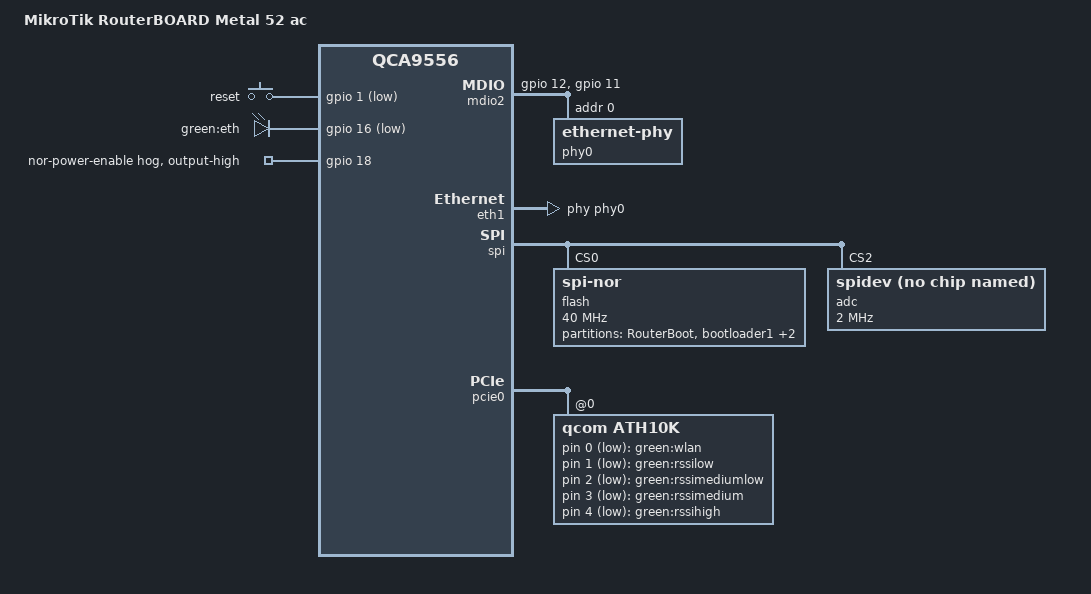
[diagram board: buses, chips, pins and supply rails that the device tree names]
// SPDX-License-Identifier: GPL-2.0-or-later OR MIT
/*
 * MikroTik RouterBOARD Metal 52 ac (RBMetalG-52SHPacn)
 *
 *   SoC      : Qualcomm Atheros QCA9556 (ath79, mipsbe, 720 MHz)
 *   RAM      : 64 MB,  Flash: 16 MB SPI NOR (ISSI IS25LP128)
 *   Ethernet : 1x GbE, AR8033 SGMII PHY on bit-banged MDIO (gpio 11/12)
 *   WiFi     : single dual-band 1x1 PCIe QCA9889 (driven as QCA9887 by
 *              ath10k), 2.4 + 5 GHz, one chain via external amplifier;
 *              SoC wmac unused.
 *
 * GPIO map verified live on hardware:
 *   gpio  1  - reset button (active low)
 *   gpio  4  - piezo beeper (passive; driven by a gpioset square wave)
 *   gpio 11  - MDIO (bit-banged)
 *   gpio 12  - MDC  (bit-banged)
 *   gpio 16  - ethernet status LED (active low: lit when line is low)
 *   gpio 18  - NOR power/enable: MUST stay high. Driving it low kills SPI
 *              access to the flash. Held high by gpio-hog below; do NOT use.
 *
 * The WiFi LED and the 4-segment signal-strength bar are wired to the QCA9889
 * radio chip's own GPIOs (see the ath10k-leds node), not the SoC.
 *
 * SPI bus pinmux (read live from GPIO_OUT_FUNCTION / GPIO_IN_ENABLE0, and
 * confirmed against the stock RouterOS kernel for this board, code "g52c"):
 *   pin 5  = SPI_CS0   (NOR flash)
 *   pin 6  = SPI_CLK   (shared)
 *   pin 7  = SPI_MOSI  (shared)
 *   pin 8  = SPI_MISO  (shared; SPI_DATA_IN source in GPIO_IN_ENABLE0)
 *   pin 17 = SPI_CS2   (the ZT2046Q /CS)
 * SPI_CS1 is muxed to no pin, so the ADC is on native chip-select 2.
 *
 * A ZT2046Q (ADS7846/XPT2046-compatible 12-bit SPI ADC) provides temperature
 * and input-voltage sensing. It shares SCLK/MOSI/MISO with the boot NOR flash
 * and hangs off the controller's native SPI_CS2; see the adc@2 node. Read it
 * from user space via /dev/spidev0.2 (mode 0, >= 1.875 MHz: AHB 240 MHz / 128).
 */

#include "qca955x.dtsi"

#include <dt-bindings/gpio/gpio.h>
#include <dt-bindings/input/input.h>

/ {
	compatible = "mikrotik,routerboard-metal-52ac", "qca,qca9556";
	model = "MikroTik RouterBOARD Metal 52 ac";

	aliases {
		mdio-gpio1 = &mdio2;
	};

	keys {
		compatible = "gpio-keys";

		reset {
			label = "reset";
			linux,code = <KEY_RESTART>;
			gpios = <&gpio 1 GPIO_ACTIVE_LOW>;
			debounce-interval = <60>;
		};
	};

	leds {
		compatible = "gpio-leds";

		eth {
			label = "green:eth";
			gpios = <&gpio 16 GPIO_ACTIVE_LOW>;
		};
	};

	/*
	 * LEDs wired to the QCA9889 radio chip's own GPIOs (exposed as the
	 * "ath10k" gpio-controller). Mapped on the device by sweeping
	 * gpiochip1: gpio0 = WiFi, gpio1..4 = signal-strength bar (low->high).
	 * Driving a line low lights the LED, hence GPIO_ACTIVE_LOW.
	 */
	ath10k-leds {
		compatible = "gpio-leds";

		wlan {
			label = "green:wlan";
			gpios = <&ath10k 0 GPIO_ACTIVE_LOW>;
			linux,default-trigger = "phy0tpt";
		};

		rssilow {
			label = "green:rssilow";
			gpios = <&ath10k 1 GPIO_ACTIVE_LOW>;
		};

		rssimediumlow {
			label = "green:rssimediumlow";
			gpios = <&ath10k 2 GPIO_ACTIVE_LOW>;
		};

		rssimedium {
			label = "green:rssimedium";
			gpios = <&ath10k 3 GPIO_ACTIVE_LOW>;
		};

		rssihigh {
			label = "green:rssihigh";
			gpios = <&ath10k 4 GPIO_ACTIVE_LOW>;
		};
	};

	/*
	 * GPIO 4 is the piezo buzzer. It is passive (needs a square wave to
	 * make sound), so it is NOT bound to the gpio-beeper driver (which can
	 * only drive a steady level). The line is left free and driven on
	 * demand with a ~2 kHz square wave via gpioset (see the bootbeep
	 * init script / runtime beeps).
	 */

	mdio2: mdio {
		compatible = "virtual,mdio-gpio";

		gpios = <&gpio 12 GPIO_ACTIVE_HIGH>, /* MDC */
			<&gpio 11 GPIO_ACTIVE_HIGH>; /* MDIO */
		#address-cells = <1>;
		#size-cells = <0>;

		phy0: ethernet-phy@0 {
			reg = <0>;
			device_type = "ethernet-phy";

			phy-mode = "sgmii";

			at803x-override-sgmii-link-check;
		};
	};
};

&gpio {
	/*
	 * Line 18 enables power to the NOR flash. Hog it high so the kernel
	 * owns it from init and no userspace request (e.g. a stray gpioset)
	 * can pull it low and break SPI access to the flash.
	 */
	nor_power_hog {
		gpio-hog;
		gpios = <18 GPIO_ACTIVE_HIGH>;
		output-high;
		line-name = "nor-power-enable";
	};
};

&eth1 {
	status = "okay";

	pll-data = <0x03000101 0x80000101 0x80001313>;
	phy-handle = <&phy0>;

	qca955x-sgmii-fixup;

	gmac-config {
		device = <&gmac>;
	};
};

&spi {
	status = "okay";
	num-cs = <3>;

	/*
	 * The ZT2046Q ADC (adc@2) sits on this same SPI bus, sharing
	 * SCLK/MOSI/MISO with the NOR flash. Its /CS is the controller's native
	 * SPI_CS2 output, which the bootloader muxes onto GPIO pin 17 (verified
	 * live via GPIO_OUT_FUNCTION: pin17 = func 0x0b = SPI_CS2). SPI_CS1 is
	 * muxed to no pin, so num-cs must be 3 to reach CS2; the ath79 SPI
	 * controller drives all three native chip-selects (CS0/CS1/CS2) via its
	 * IOC register, so no cs-gpios are needed.
	 */

	flash@0 {
		compatible = "jedec,spi-nor";
		reg = <0>;
		spi-max-frequency = <40000000>;

		partitions {
			compatible = "fixed-partitions";
			#address-cells = <1>;
			#size-cells = <1>;

			partition@0 {
				label = "RouterBoot";
				reg = <0x0 0x20000>;
				compatible = "mikrotik,routerboot-partitions";
				#address-cells = <1>;
				#size-cells = <1>;

				partition@0 {
					label = "bootloader1";
					reg = <0x0 0x0>;
					read-only;
				};

				hard_config {
					read-only;
				};

				bios {
					size = <0x1000>;
					read-only;
				};

				partition@10000 {
					label = "bootloader2";
					reg = <0x10000 0x0>;
					read-only;
				};

				soft_config {
				};
			};

			partition@20000 {
				compatible = "mikrotik,minor";
				label = "firmware";
				reg = <0x020000 0xfe0000>;
			};
		};
	};

	/*
	 * ZT2046Q (ADS7846/XPT2046-compatible 12-bit SPI ADC): temperature and
	 * input-voltage sensing on native chip-select 2 (SPI_CS2 -> pin 17).
	 * Bound to spidev (read from user space) rather than the ads7846 driver,
	 * because ads7846 needs a PENIRQ/pendown interrupt that is not wired on
	 * this board. "rohm,dh2228fv" is the conventional spidev compatible.
	 *
	 * spi-max-frequency must stay >= AHB/128 = 1.875 MHz (240 MHz AHB) or the
	 * ath79 clock divider overflows ("spi clock is too low"); the ADS7846
	 * family tops out at ~2 MHz, so 2 MHz is the usable point.
	 *
	 * Enumerates as /dev/spidev0.2. Single-ended control bytes (mode 0),
	 * shift 3 bytes [ctrl,0,0], result = top 12 bits of the last 2 bytes:
	 *   0xA7 = VBAT  (input voltage via on-board divider)
	 *   0x87 / 0xF7 = TEMP0 / TEMP1
	 *   0xE7 = AUX
	 */
	adc@2 {
		compatible = "rohm,dh2228fv";
		reg = <2>;
		spi-max-frequency = <2000000>;
	};
};

&pcie0 {
	status = "okay";

	ath10k: wifi@0,0 {
		compatible = "qcom,ath10k";
		reg = <0 0 0 0 0>;

		/*
		 * The WiFi LED + signal-strength bar are on this radio chip's
		 * own GPIOs. Expose them as a gpio-controller so they can be
		 * described as gpio-leds (see the ath10k-leds node).
		 * Requires CONFIG_ATH10K_LEDS + the gpiochip backport patch.
		 */
		#gpio-cells = <2>;
		gpio-controller;
	};
};
